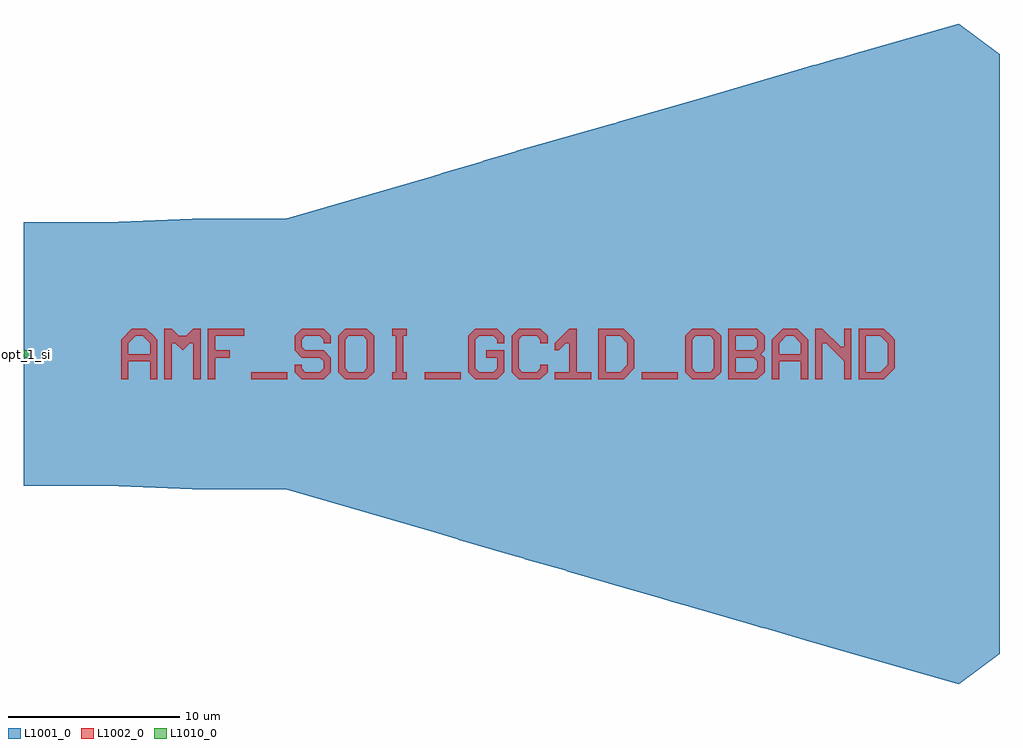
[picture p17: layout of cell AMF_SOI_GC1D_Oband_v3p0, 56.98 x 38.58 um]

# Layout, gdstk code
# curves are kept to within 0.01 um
import gdstk
lib = gdstk.Library(unit=1e-6, precision=1e-09)
def R(c, l, rs):  # rectangles x0, y0, x1, y1
    for r in rs: c.add(gdstk.rectangle(r[:2], r[2:], *l))
def P(c, l, *ps):  # polygons
    for p in ps: c.add(gdstk.Polygon(p, *l))
L1001_0 = (1001, 0)
L1002_0 = (1002, 0)
L1010_0 = (1010, 0)

amf_soi_gc1d_oband_v3p0 = lib.new_cell('AMF_SOI_GC1D_Oband_v3p0')
P(amf_soi_gc1d_oband_v3p0, L1001_0, [(54.6,-19.291),(48.074,-17.4),(48.069,-17.415),(29.264,-11.96),(25.37,-10.847),(25.351,-10.811),(15.314,-7.9),(9.854,-7.9),(4.862,-7.705),(0,-7.705),(0,7.705),(4.862,7.705),(9.854,7.9),(15.314,7.9),(24.375,10.528),(24.389,10.554),(28.783,11.829),(28.796,11.853),(34.508,13.475),(34.628,13.51),(34.642,13.536),(39.648,14.966),(46.154,16.88),(46.161,16.858),(48.783,17.606),(54.598,19.292),(56.984,17.5),(56.984,-17.5)])
R(amf_soi_gc1d_oband_v3p0, L1002_0, [(13.297,-1.477,15.408,-1.055), (23.429,-1.477,25.54,-1.055), (36.094,-1.477,38.205,-1.055)])
P(amf_soi_gc1d_oband_v3p0, L1002_0, [(5.698,-1.477),(5.698,0.845),(6.331,1.478),(7.175,1.478),(7.597,1.056),(6.542,1.056),(6.12,0.634),(6.12,0),(7.386,0),(7.386,0.634),(6.964,1.056),(7.597,1.056),(7.809,0.845),(7.809,-1.477),(7.386,-1.477),(7.386,-0.422),(6.12,-0.422),(6.12,-1.477)],
  [(8.231,-1.477),(8.231,1.478),(8.653,1.478),(9.075,1.056),(9.497,1.056),(9.919,1.478),(10.342,1.478),(10.342,-1.477),(9.919,-1.477),(9.919,0.634),(9.708,0.634),(9.286,0.211),(8.864,0.634),(8.653,0.634),(8.653,-1.477)],
  [(10.764,-1.477),(10.764,1.478),(12.875,1.478),(12.875,1.056),(11.186,1.056),(11.186,0.211),(12.03,0.211),(12.03,-0.211),(11.186,-0.211),(11.186,-1.477)],
  [(16.252,-1.477),(15.83,-1.055),(15.83,-0.633),(16.252,-0.633),(16.252,-0.844),(16.463,-1.055),(17.307,-1.055),(17.518,-0.844),(17.518,-0.422),(17.307,-0.211),(16.252,-0.211),(15.83,0.211),(15.83,1.056),(16.252,1.478),(17.518,1.478),(17.941,1.056),(17.941,0.634),(17.518,0.634),(17.518,0.845),(17.307,1.056),(16.463,1.056),(16.252,0.845),(16.252,0.422),(16.463,0.211),(17.518,0.211),(17.941,-0.211),(17.941,-1.055),(17.518,-1.477)],
  [(18.785,-1.477),(18.363,-1.055),(18.363,1.056),(18.785,1.478),(20.051,1.478),(20.474,1.056),(20.474,0),(20.051,0),(20.051,0.845),(19.84,1.056),(18.996,1.056),(18.785,0.845),(18.785,-0.844),(18.996,-1.055),(19.84,-1.055),(20.051,-0.844),(20.051,0),(20.474,0),(20.474,-1.055),(20.051,-1.477)],
  [(21.529,-1.477),(21.529,-1.055),(21.74,-1.055),(21.74,1.056),(21.529,1.056),(21.529,1.478),(22.373,1.478),(22.373,1.056),(22.162,1.056),(22.162,-1.055),(22.373,-1.055),(22.373,-1.477)],
  [(26.384,-1.477),(25.962,-1.055),(25.962,1.056),(26.384,1.478),(27.65,1.478),(28.073,1.056),(28.073,0.634),(27.65,0.634),(27.65,0.845),(27.439,1.056),(26.595,1.056),(26.384,0.845),(26.384,-0.844),(26.595,-1.055),(27.439,-1.055),(27.65,-0.844),(27.65,-0.211),(27.017,-0.211),(27.017,0.211),(28.073,0.211),(28.073,-1.055),(27.65,-1.477)],
  [(28.917,-1.477),(28.495,-1.055),(28.495,1.056),(28.917,1.478),(30.183,1.478),(30.606,1.056),(30.606,0.634),(30.183,0.634),(30.183,0.845),(29.972,1.056),(29.128,1.056),(28.917,0.845),(28.917,-0.844),(29.128,-1.055),(29.972,-1.055),(30.183,-0.844),(30.183,-0.633),(30.606,-0.633),(30.606,-1.055),(30.183,-1.477)],
  [(31.028,-1.477),(31.028,-1.055),(31.872,-1.055),(31.872,0.634),(31.661,0.634),(31.239,0.211),(31.028,0.211),(31.028,0.634),(31.872,1.478),(32.294,1.478),(32.294,-1.055),(33.139,-1.055),(33.139,-1.477)],
  [(33.561,-1.477),(33.561,1.478),(35.038,1.478),(35.46,1.056),(33.983,1.056),(33.983,-1.055),(34.827,-1.055),(35.249,-0.633),(35.249,0.634),(34.827,1.056),(35.46,1.056),(35.672,0.845),(35.672,-0.844),(35.038,-1.477)],
  [(39.049,-1.477),(38.627,-1.055),(38.627,1.056),(39.049,1.478),(40.315,1.478),(40.738,1.056),(40.738,0),(40.315,0),(40.315,0.845),(40.104,1.056),(39.26,1.056),(39.049,0.845),(39.049,-0.844),(39.26,-1.055),(40.104,-1.055),(40.315,-0.844),(40.315,0),(40.738,0),(40.738,-1.055),(40.315,-1.477)],
  [(41.16,-1.477),(41.16,1.478),(42.848,1.478),(43.271,1.056),(41.582,1.056),(41.582,0.211),(42.637,0.211),(42.848,0.422),(42.848,0.845),(42.637,1.056),(43.271,1.056),(43.271,0.211),(43.059,0),(43.271,-0.211),(41.582,-0.211),(41.582,-1.055),(42.637,-1.055),(42.848,-0.844),(42.848,-0.422),(42.637,-0.211),(43.271,-0.211),(43.271,-1.055),(42.848,-1.477)],
  [(43.693,-1.477),(43.693,0.845),(44.326,1.478),(45.17,1.478),(45.592,1.056),(44.537,1.056),(44.115,0.634),(44.115,0),(45.381,0),(45.381,0.634),(44.959,1.056),(45.592,1.056),(45.804,0.845),(45.804,-1.477),(45.381,-1.477),(45.381,-0.422),(44.115,-0.422),(44.115,-1.477)],
  [(46.226,-1.477),(46.226,1.478),(46.648,1.478),(47.703,0.422),(47.914,0.422),(47.914,1.478),(48.337,1.478),(48.337,-1.477),(47.914,-1.477),(47.914,-0.422),(46.859,0.634),(46.648,0.634),(46.648,-1.477)],
  [(48.759,-1.477),(48.759,1.478),(50.236,1.478),(50.658,1.056),(49.181,1.056),(49.181,-1.055),(50.025,-1.055),(50.447,-0.633),(50.447,0.634),(50.025,1.056),(50.658,1.056),(50.87,0.845),(50.87,-0.844),(50.236,-1.477)])
R(amf_soi_gc1d_oband_v3p0, L1010_0, [(0,-0.205,0.41,0.205)])
amf_soi_gc1d_oband_v3p0.add(gdstk.Label('opt_1_si', (0,0), layer=1010, texttype=0))

lib.write_gds('AMF_SOI_GC1D_Oband_v3p0.gds')
